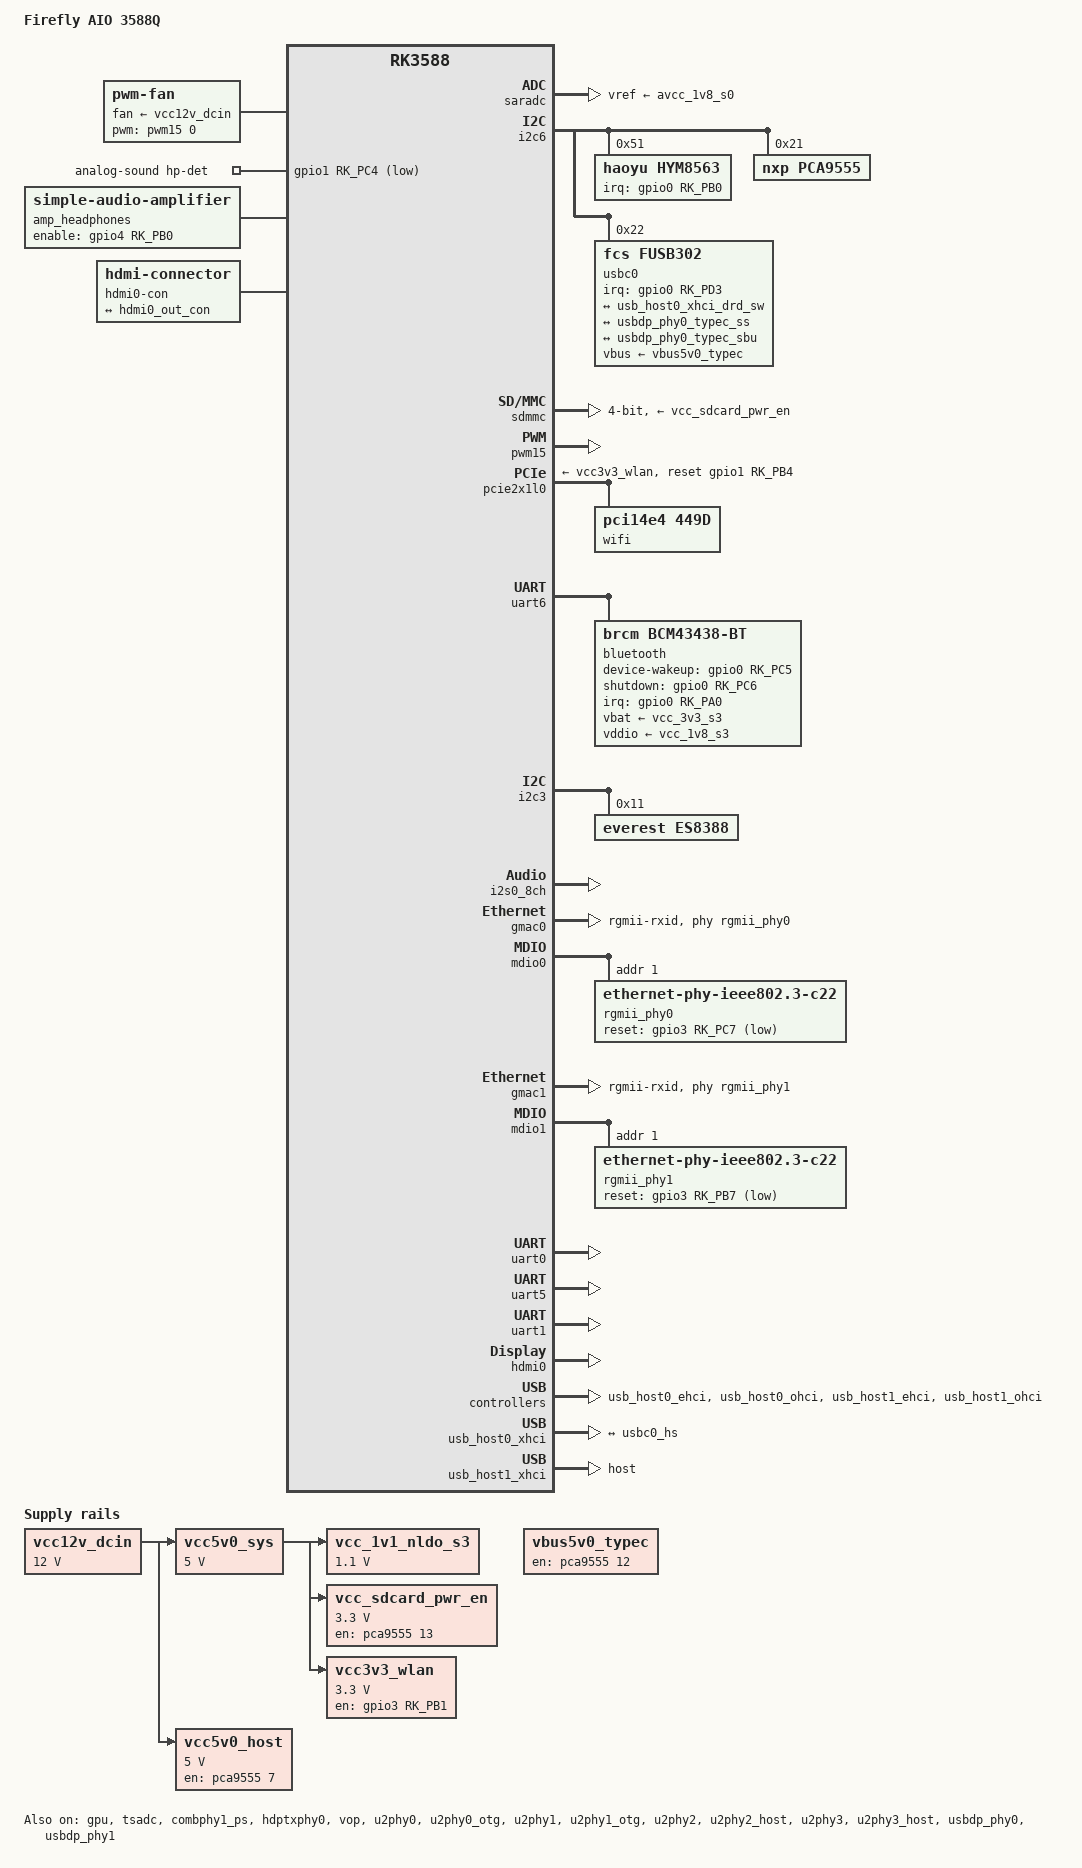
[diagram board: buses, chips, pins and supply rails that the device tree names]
/dts-v1/;

#include <dt-bindings/gpio/gpio.h>
#include <dt-bindings/input/input.h>
#include <dt-bindings/pinctrl/rockchip.h>
#include <dt-bindings/soc/rockchip,vop2.h>
#include <dt-bindings/usb/pd.h>

#include "rk3588-firefly-icore-3588q.dtsi"

/ {
	model = "Firefly AIO 3588Q";
	compatible = "firefly,icore-3588q", "rockchip,rk3588";

	aliases {
		mmc0 = &sdhci;
		mmc1 = &sdmmc;
	};

	chosen {
		stdout-path = "serial2:1500000n8";
	};

	vcc12v_dcin: regulator-vcc12v-dcin {
		compatible = "regulator-fixed";
		regulator-always-on;
		regulator-boot-on;
		regulator-min-microvolt = <12000000>;
		regulator-max-microvolt = <12000000>;
		regulator-name = "vcc12v_dcin";
	};

	vcc5v0_sys: regulator-vcc5v0-sys {
		compatible = "regulator-fixed";
		regulator-always-on;
		regulator-boot-on;
		regulator-min-microvolt = <5000000>;
		regulator-max-microvolt = <5000000>;
		regulator-name = "vcc5v0_sys";
		vin-supply = <&vcc12v_dcin>;
	};

	vcc5v0_host: regulator-vcc5v0-host {
		compatible = "regulator-fixed";
		regulator-always-on;
		regulator-boot-on;
		regulator-min-microvolt = <5000000>;
		regulator-max-microvolt = <5000000>;
		regulator-name = "vcc5v0_host";
		enable-active-high;
		gpio = <&pca9555 7 GPIO_ACTIVE_HIGH>;//PCA_IO0_7 7
		vin-supply = <&vcc12v_dcin>;
	};

	vbus5v0_typec: vbus5v0-typec-pwr-en-regulator {
		compatible = "regulator-fixed";
		regulator-name = "vbus5v0_typec";
		enable-active-high;
		gpio = <&pca9555 12 GPIO_ACTIVE_HIGH>;//PCA_IO1_4 12
	};

	vcc_1v1_nldo_s3: regulator-vcc-1v1-nldo-s3 {
		compatible = "regulator-fixed";
		regulator-name = "vcc_1v1_nldo_s3";
		regulator-always-on;
		regulator-boot-on;
		regulator-min-microvolt = <1100000>;
		regulator-max-microvolt = <1100000>;
		vin-supply = <&vcc5v0_sys>;
	};

	vcc_sdcard_pwr_en: vcc-sdcard-pwr-en {
		compatible = "regulator-fixed";
		regulator-name = "vcc_3v3_sd_s0";
		regulator-min-microvolt = <3300000>;
		regulator-max-microvolt = <3300000>;
		enable-active-high;
		gpio = <&pca9555 13 GPIO_ACTIVE_HIGH>; // PCA_IO1_5
		vin-supply = <&vcc5v0_sys>;
	};

	vcc3v3_wlan: regulator-vcc3v3-wlan {
		compatible = "regulator-fixed";
		enable-active-high;
		gpios = <&gpio3 RK_PB1 GPIO_ACTIVE_HIGH>;
		pinctrl-names = "default";
		pinctrl-0 = <&wifi_pwren>;
		regulator-min-microvolt = <3300000>;
		regulator-max-microvolt = <3300000>;
		regulator-name = "wlan-en";
		vin-supply = <&vcc5v0_sys>;
	};

	fan: pwm-fan {
		compatible = "pwm-fan";
		cooling-levels = <0 120 150 180 210 240 255>;
		#cooling-cells = <2>;
		fan-supply = <&vcc12v_dcin>;
		pwms = <&pwm15 0 50000 0>;
	};

	analog-sound {
		compatible = "simple-audio-card";
		pinctrl-names = "default";
		pinctrl-0 = <&hp_detect>;
		simple-audio-card,aux-devs = <&amp_headphones>;
		simple-audio-card,format = "i2s";
		simple-audio-card,mclk-fs = <384>;
		simple-audio-card,name = "rockchip,es8388";
		simple-audio-card,hp-det-gpios = <&gpio1 RK_PC4 GPIO_ACTIVE_LOW>;
		simple-audio-card,pin-switches = "Headphones";
		simple-audio-card,routing =
			"Speaker", "LOUT2",
			"Speaker", "ROUT2",
			"Headphones Amplifier INL", "LOUT1",
			"Headphones Amplifier INR", "ROUT1",
			"Headphones", "Headphones Amplifier OUTL",
			"Headphones", "Headphones Amplifier OUTR",
			"LINPUT1", "Microphone Jack",
			"RINPUT1", "Microphone Jack",
			"LINPUT2", "Onboard Microphone",
			"RINPUT2", "Onboard Microphone";
		simple-audio-card,widgets =
			"Microphone", "Microphone Jack",
			"Microphone", "Onboard Microphone",
			"Headphone", "Headphones",
			"Speaker", "Speaker";

		simple-audio-card,cpu {
			sound-dai = <&i2s0_8ch>;
		};

		simple-audio-card,codec {
			sound-dai = <&es8388>;
			system-clock-frequency = <12288000>;
		};
	};

	/*
	 * this does not seem to be a proper "amplifier" but is just
	 * a way to control the GPIO pins to switch on or off the given
	 * sound output device
	 */
	amp_headphones: headphones-audio-amplifier {
		compatible = "simple-audio-amplifier";
		enable-gpios = <&gpio4 RK_PB0 GPIO_ACTIVE_HIGH>;
		pinctrl-names = "default";
		pinctrl-0 = <&headphone_amplifier_en>;
		sound-name-prefix = "Headphones Amplifier";
	};

	hdmi0-con {
		compatible = "hdmi-connector";
		type = "a";

		port {
			hdmi0_con_in: endpoint {
				remote-endpoint = <&hdmi0_out_con>;
			};
		};
	};
};

&pinctrl {
	hym8563 {
		hym8563_int: hym8563-int {
			rockchip,pins = <0 RK_PB0 RK_FUNC_GPIO &pcfg_pull_up>;
		};
	};

	sound {
		hp_detect: hp-detect {
			rockchip,pins = <1 RK_PC4 RK_FUNC_GPIO &pcfg_pull_none>;
		};

		headphone_amplifier_en: headphone-amplifier-en {
			rockchip,pins = <4 RK_PB0 RK_FUNC_GPIO &pcfg_pull_none>;
		};

		speaker_amplifier_en: speaker-amplifier-en {
			rockchip,pins = <3 RK_PB2 RK_FUNC_GPIO &pcfg_pull_none>;
		};
	};

	wlan {
		wifi_host_wake_irq: wifi-host-wake-irq {
			rockchip,pins = <0 RK_PB2 RK_FUNC_GPIO &pcfg_pull_down>;
		};

		wifi_pwren: wifi-pwren {
			rockchip,pins = <0 RK_PC4 RK_FUNC_GPIO &pcfg_pull_up>;
		};
	};

	usb-typec {
		usbc0_int: usbc0-int {
			rockchip,pins = <0 RK_PD3 RK_FUNC_GPIO &pcfg_pull_up>;
		};
	};

	wireless-bluetooth {
		bt_reset_pin: bt-reset-pin {
			rockchip,pins = <0 RK_PC6 RK_FUNC_GPIO &pcfg_pull_none>;
		};

		bt_wake_pin: bt-wake-pin {
			rockchip,pins = <0 RK_PC5 RK_FUNC_GPIO &pcfg_pull_none>;
		};

		bt_wake_host_irq: bt-wake-host-irq {
			rockchip,pins = <0 RK_PA0 RK_FUNC_GPIO &pcfg_pull_down>;
		};
	};
};

&saradc {
	vref-supply = <&avcc_1v8_s0>;
	status = "okay";
};

&gpu {
	mali-supply = <&vdd_gpu_s0>;
	sram-supply = <&vdd_gpu_mem_s0>;
	status = "okay";
};

&i2c6 {
	status = "okay";

	hym8563: rtc@51 {
		compatible = "haoyu,hym8563";
		reg = <0x51>;
		#clock-cells = <0>;
		clock-output-names = "hym8563";
		pinctrl-names = "default";
		pinctrl-0 = <&hym8563_int>;
		interrupt-parent = <&gpio0>;
		interrupts = <RK_PB0 IRQ_TYPE_LEVEL_LOW>;
		wakeup-source;
	};

	pca9555: gpio@21 {
		compatible = "nxp,pca9555";
		reg = <0x21>;
		gpio-controller;
		#gpio-cells = <2>;
	};

	usbc0: usb-typec@22 {
		compatible = "fcs,fusb302";
		reg = <0x22>;
		interrupt-parent = <&gpio0>;
		interrupts = <RK_PD3 IRQ_TYPE_LEVEL_LOW>;
		pinctrl-names = "default";
		pinctrl-0 = <&usbc0_int>;
		vbus-supply = <&vbus5v0_typec>;
		status = "okay";

		connector {
			compatible = "usb-c-connector";
			data-role = "dual";
			label = "USB-C";
			op-sink-microwatt = <1000000>;
			/* fusb302 supports PD Rev 2.0 Ver 1.2 */
			pd-revision = /bits/ 8 <0x2 0x0 0x1 0x2>;
			power-role = "dual";
			sink-pdos = <PDO_FIXED(5000, 3000, PDO_FIXED_USB_COMM)>;
			source-pdos = <PDO_FIXED(5000, 2000, PDO_FIXED_USB_COMM)>;
			try-power-role = "source";
			typec-power-opmode = "1.5A";

			ports {
				#address-cells = <1>;
				#size-cells = <0>;

				port@0 {
					reg = <0>;
					usbc0_hs: endpoint {
						remote-endpoint = <&usb_host0_xhci_drd_sw>;
					};
				};

				port@1 {
					reg = <1>;
					usbc0_ss: endpoint {
						remote-endpoint = <&usbdp_phy0_typec_ss>;
					};
				};

				port@2 {
					reg = <2>;
					usbc0_sbu: endpoint {
						remote-endpoint = <&usbdp_phy0_typec_sbu>;
					};
				};
			};
		};
	};
};

/* tf card */
&sdmmc {
	max-frequency = <150000000>;
	no-sdio;
	no-mmc;
	bus-width = <4>;
	cap-mmc-highspeed;
	cap-sd-highspeed;
	disable-wp;
	sd-uhs-sdr104;
	vmmc-supply = <&vcc_sdcard_pwr_en>;
	vqmmc-supply = <&vccio_sd_s0>;
	status = "okay";
};

/* thermal */
&tsadc {
	status = "okay";
};

&pwm15 {
	pinctrl-0 = <&pwm15m2_pins>;
	status = "okay";
};

&package_thermal {
	polling-delay = <1000>;

	trips {
		package_fan0: package-fan0 {
			temperature = <55000>;
			hysteresis = <2000>;
			type = "active";
		};

		package_fan1: package-fan1 {
			temperature = <65000>;
			hysteresis = <2000>;
			type = "active";
		};
	};

	cooling-maps {
		map0 {
			trip = <&package_fan0>;
			cooling-device = <&fan THERMAL_NO_LIMIT 1>;
		};

		map1 {
			trip = <&package_fan1>;
			cooling-device = <&fan 2 THERMAL_NO_LIMIT>;
		};
	};
};

/* ap6275p: wifi */
&pcie2x1l0 {
	reset-gpios = <&gpio1 RK_PB4 GPIO_ACTIVE_HIGH>;
	vpcie3v3-supply = <&vcc3v3_wlan>;
	status = "okay";

	pcie@0,0 {
		reg = <0x200000 0 0 0 0>;
		#address-cells = <3>;
		#size-cells = <2>;
		ranges;
		device_type = "pci";
		bus-range = <0x20 0x2f>;
		wifi: wifi@0,0 {
			compatible = "pci14e4,449d";
			reg = <0x210000 0 0 0 0>;
			clocks = <&hym8563>;
			clock-names = "lpo";
		};
	};
};

&combphy1_ps {
	status = "okay";
};

/* ap6275: bluetooth */
&uart6 {
	pinctrl-names = "default";
	pinctrl-0 = <&uart6m1_xfer &uart6m1_ctsn>;
	status = "okay";

	bluetooth {
		compatible = "brcm,bcm43438-bt";
		clocks = <&hym8563>;
		clock-names = "lpo";
		interrupt-parent = <&gpio0>;
		interrupts = <RK_PA0 IRQ_TYPE_LEVEL_HIGH>;
		interrupt-names = "host-wakeup";
		device-wakeup-gpios = <&gpio0 RK_PC5 GPIO_ACTIVE_HIGH>;
		shutdown-gpios = <&gpio0 RK_PC6 GPIO_ACTIVE_HIGH>;
		max-speed = <1500000>;
		pinctrl-names = "default";
		pinctrl-0 = <&bt_wake_host_irq &bt_wake_pin &bt_reset_pin>;
		vbat-supply = <&vcc_3v3_s3>;
		vddio-supply = <&vcc_1v8_s3>;
	};
};

/* es8388 audio codec */
&i2c3 {
	status = "okay";

	es8388: audio-codec@11 {
		compatible = "everest,es8388";
		reg = <0x11>;
		assigned-clocks = <&cru I2S0_8CH_MCLKOUT>;
		assigned-clock-rates = <12288000>;
		clocks = <&cru I2S0_8CH_MCLKOUT>;
		clock-names = "mclk";
		#sound-dai-cells = <0>;
	};
};

&i2s0_8ch {
	pinctrl-names = "default";
	pinctrl-0 = <&i2s0_lrck
	&i2s0_mclk
	&i2s0_sclk
	&i2s0_sdi0
	&i2s0_sdo0>;
	status = "okay";
};

/* ehternet */
&gmac0 {
	clock_in_out = "output";
	phy-handle = <&rgmii_phy0>;
	phy-mode = "rgmii-rxid";
	pinctrl-names = "default";
	pinctrl-0 = <&gmac0_miim
	&gmac0_tx_bus2
	&gmac0_rx_bus2
	&gmac0_rgmii_clk
	&gmac0_rgmii_bus>;
	tx_delay = <0x47>;
	rx_delay = <0x00>;
	status = "okay";
};

&mdio0 {
	rgmii_phy0: phy@1 {
		compatible = "ethernet-phy-ieee802.3-c22";
		reg = <0x1>;
		reset-assert-us = <20000>;
		reset-deassert-us = <100000>;
		reset-gpios = <&gpio3 RK_PC7 GPIO_ACTIVE_LOW>;
	};
};

&gmac1 {
	clock_in_out = "output";
	phy-handle = <&rgmii_phy1>;
	phy-mode = "rgmii-rxid";
	pinctrl-0 = <&gmac1_miim
	&gmac1_tx_bus2
	&gmac1_rx_bus2
	&gmac1_rgmii_clk
	&gmac1_rgmii_bus>;
	pinctrl-names = "default";
	tx_delay = <0x4f>;
	rx_delay = <0x00>;
	status = "okay";
};

&mdio1 {
	rgmii_phy1: ethernet-phy@1 {
		compatible = "ethernet-phy-ieee802.3-c22";
		reg = <0x1>;
		reset-assert-us = <20000>;
		reset-deassert-us = <100000>;
		reset-gpios = <&gpio3 RK_PB7 GPIO_ACTIVE_LOW>;
	};
};

/* RS232_0 */
&uart0{
	pinctrl-0 = <&uart0m2_xfer>;
	status = "okay";
};

/* RS232_1 */
&uart5{
	pinctrl-0 = <&uart5m1_xfer>;
	status = "okay";
};

/* RS485 */
&uart1{
	pinctrl-0 = <&uart1m1_xfer>;
	status = "okay";
};

/* hdmi0 */
&hdmi0 {
	enable-gpios = <&gpio4 RK_PA0 GPIO_ACTIVE_HIGH>;
	status = "okay";
};

&hdmi0_in {
	hdmi0_in_vp0: endpoint {
		remote-endpoint = <&vp0_out_hdmi0>;
	};
};

&hdmi0_out {
	hdmi0_out_con: endpoint {
		remote-endpoint = <&hdmi0_con_in>;
	};
};

&hdptxphy0 {
	status = "okay";
};

/* hdmi0 sound */
&hdmi0_sound {
	status = "disalbed";
};

&i2s5_8ch {
	status = "disalbed";
};

/* display generator */
&vop_mmu {
	status = "okay";
};

&vop {
	status = "okay";
};

&vp0 {
	vp0_out_hdmi0: endpoint@ROCKCHIP_VOP2_EP_HDMI0 {
		reg = <ROCKCHIP_VOP2_EP_HDMI0>;
		remote-endpoint = <&hdmi0_in_vp0>;
	};
};

/* usb */
&u2phy0 {
	status = "okay";
};

&u2phy0_otg {
	status = "okay";
};

&u2phy1 {
	status = "okay";
};

&u2phy1_otg {
	status = "okay";
};

&u2phy2 {
	status = "okay";
};

&u2phy2_host {
	status = "okay";
};

&u2phy3 {
	status = "okay";
};

&u2phy3_host {
	status = "okay";
};

&usbdp_phy0 {
	mode-switch;
	orientation-switch;
	sbu1-dc-gpios = <&gpio4 RK_PA6 GPIO_ACTIVE_HIGH>;
	sbu2-dc-gpios = <&gpio4 RK_PA7 GPIO_ACTIVE_HIGH>;
	status = "okay";

	port {
		#address-cells = <1>;
		#size-cells = <0>;

		usbdp_phy0_typec_ss: endpoint@0 {
			reg = <0>;
			remote-endpoint = <&usbc0_ss>;
		};

		usbdp_phy0_typec_sbu: endpoint@1 {
			reg = <1>;
			remote-endpoint = <&usbc0_sbu>;
		};
	};
};

&usbdp_phy1 {
	status = "okay";
};

&usb_host0_ehci {
	status = "okay";
};

&usb_host0_ohci {
	status = "okay";
};

&usb_host0_xhci {
	usb-role-switch;
	status = "okay";

	port {
		usb_host0_xhci_drd_sw: endpoint {
			remote-endpoint = <&usbc0_hs>;
		};
	};
};

&usb_host1_ehci {
	status = "okay";
};

&usb_host1_ohci {
	status = "okay";
};

&usb_host1_xhci {
	dr_mode = "host";
	status = "okay";
};
